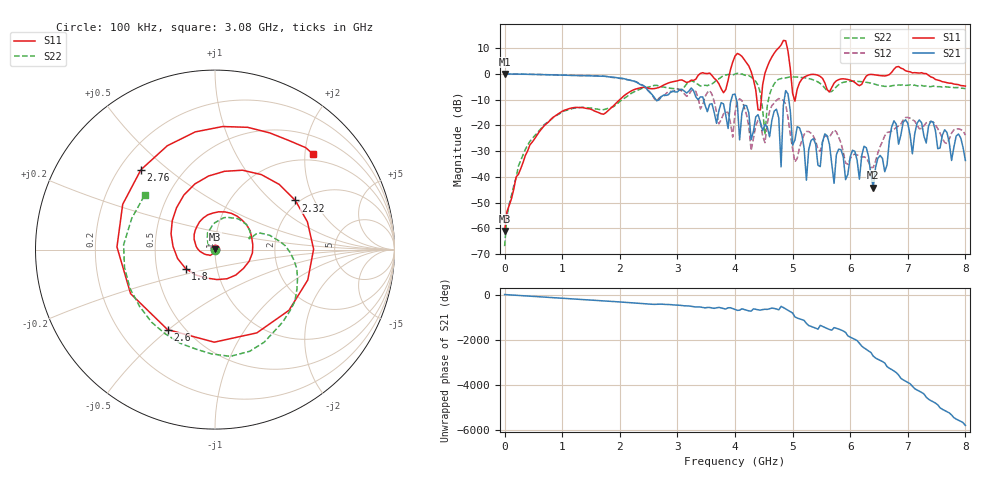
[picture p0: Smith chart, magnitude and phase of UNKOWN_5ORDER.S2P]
!Agilent Technologies,E5071C,MY46101915,A.08.10
!Date: Mon Jan 01 00:43:14 2001
!Data & Calibration Information:
!Freq	S11:SOLT2(ON)	S21:SOLT2(ON)	S12:SOLT2(ON)	S22:SOLT2(ON)
# Hz S dB R 50
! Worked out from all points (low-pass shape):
!   201 points, 100 kHz to 8 GHz, reference 50 ohm
!   highest |S21| = -0.01 dB at 100 kHz (marker M1); lowest = -44.2 dB at 6.4 GHz (marker M2)
!   |S21| within 3 dB of the highest: start of sweep to 2.275 GHz
!   lowest |S11| = -61.1 dB at 100 kHz (marker M3), VSWR 1.00, Z = 50.1 + j0.0573 ohm
!   |S11| at or under -10 dB: start of sweep to 1.999 GHz; 4.38 GHz to 4.456 GHz (76.74 MHz wide, 1.74 % of centre); 5.032345 GHz to 5.045119 GHz (12.77 MHz wide, 0.254 % of centre)
!   |S22| runs from -67.0 to 0.2 dB; largest |S21 - S12| = 0.69
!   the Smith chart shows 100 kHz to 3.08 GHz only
!   S11 on the Smith chart (normalised r, x): 100 kHz: 1.00, +0.00; 1.8 GHz: 0.70, -0.15; 2.32 GHz: 1.91, +1.44; 2.6 GHz: 0.41, -0.50; 2.76 GHz: 0.29, +0.41; 3.08 GHz: 0.85, +2.17
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100000  -61.11 40.6  -0.01 0.0  0.01 -0.1  -66.97 10.3
6.000925e8  -22.54 -167.0  -0.23 -94.9  -0.21 -94.8  -22.02 124.0
1.360083e9  -13.08 28.2  -0.70 143.9  -0.65 143.8  -12.97 35.4
1.800078e9  -14.20 -147.2  -1.10 67.4  -1.07 66.7  -13.32 19.3
2.320071e9  -5.60 31.5  -3.64 -32.3  -3.45 -31.4  -6.23 -19.6
2.600068e9  -5.71 -120.7  -9.15 -75.9  -9.64 -75.2  -4.46 -71.2
2.680066e9  -5.25 178.4  -10.14 -65.1  -9.44 -62.7  -4.71 -92.0
2.760066e9  -4.34 132.9  -8.23 -74.0  -8.70 -70.7  -5.09 -110.3
3.080062e9  -2.35 44.4  -6.00 -130.1  -6.78 -137.1  -6.08 141.8
3.560056e9  0.35 -22.2  -11.79 147.2  -6.47 141.7  -4.19 -19.4
4.00005e9  6.92 -115.1  -7.84 58.9  -15.18 -168.8  -0.06 -61.3
4.480044e9  -4.23 -178.9  -22.02 52.2  -24.04 -10.5  -13.78 -64.4
4.640042e9  6.60 -110.6  -18.05 117.1  -12.29 91.4  -5.50 118.0
4.84004e9  13.02 -53.7  -12.15 141.7  -10.21 -76.1  -1.40 126.6
4.920038e9  8.90 -81.8  -7.77 14.8  -16.95 146.6  -1.34 137.5
5.080036e9  -5.93 79.5  -20.52 39.5  -32.85 53.5  -1.21 157.6
5.360033e9  -0.17 -176.5  -25.22 -10.3  -24.18 -83.2  -2.33 -159.7
5.800028e9  -2.22 5.6  -29.27 -94.5  -24.60 -150.2  -4.18 -44.6
6.40002e9  -0.26 -139.7  -44.17 146.6  -36.35 -83.2  -3.78 56.6
6.680016e9  -0.24 -38.5  -25.73 -33.4  -22.59 -48.2  -4.82 118.9
7.400008e9  -1.16 165.7  -18.34 -30.4  -18.56 -150.8  -4.97 -99.7
8e9  -4.73 17.5  -33.63 -54.2  -23.80 17.8  -5.70 15.9
